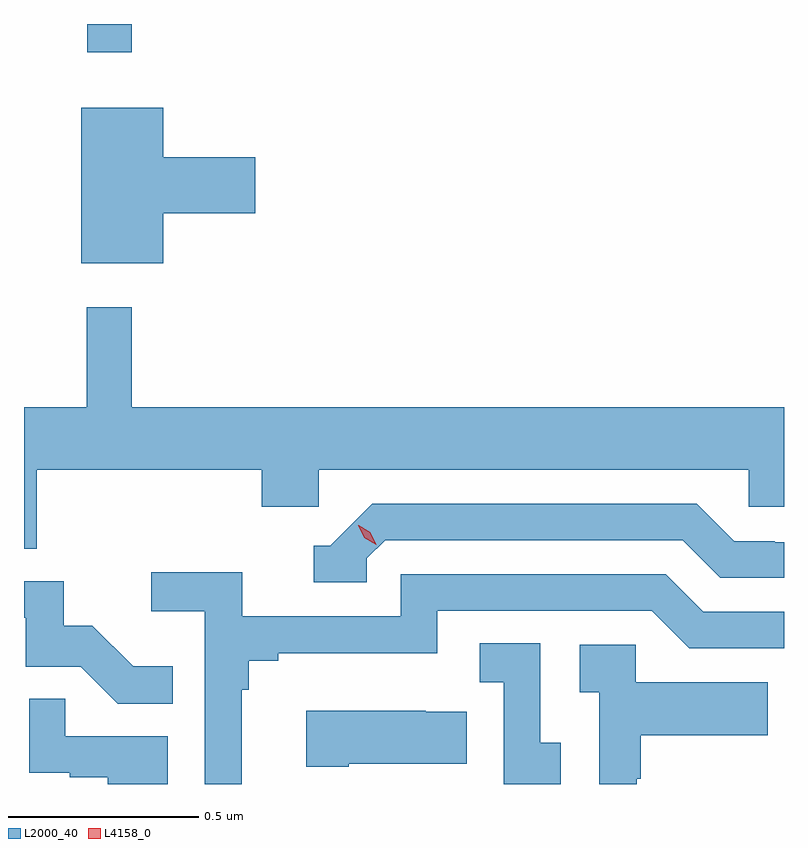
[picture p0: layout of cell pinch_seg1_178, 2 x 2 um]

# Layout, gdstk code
import gdstk
lib = gdstk.Library(unit=1e-6, precision=1e-09)
def R(c, l, rs):  # rectangles x0, y0, x1, y1
    for r in rs: c.add(gdstk.rectangle(r[:2], r[2:], *l))
def P(c, l, *ps):  # polygons
    for p in ps: c.add(gdstk.Polygon(p, *l))
L2000_40 = (2000, 40)
L4158_0 = (4158, 0)

pinch_seg1_178 = lib.new_cell('pinch_seg1_178')
R(pinch_seg1_178, L2000_40, [(1125.884,555.495,1126.001,555.569)])
P(pinch_seg1_178, L2000_40, [(1126.084,555.071),(1126.327,555.071),(1126.327,555.218),(1126.084,555.218),(1126.084,555.349),(1125.869,555.349),(1125.869,554.939),(1126.084,554.939)],
  [(1125.752,554.396),(1126.343,554.396),(1126.343,554.298),(1126.494,554.298),(1126.494,554.396),(1127.625,554.396),(1127.625,554.298),(1127.718,554.298),(1127.718,554.56),(1126.001,554.56),(1126.001,554.824),(1125.883,554.824),(1125.883,554.56),(1125.718,554.56),(1125.718,554.188),(1125.752,554.188)],
  [(1126.62,554.163),(1126.668,554.211),(1127.451,554.211),(1127.55,554.112),(1127.718,554.112),(1127.718,554.205),(1127.694,554.205),(1127.694,554.208),(1127.587,554.208),(1127.488,554.307),(1126.635,554.307),(1126.524,554.196),(1126.481,554.196),(1126.481,554.1),(1126.62,554.1)],
  [(1126.291,553.817),(1126.31,553.817),(1126.31,553.894),(1126.387,553.894),(1126.387,553.913),(1126.806,553.913),(1126.806,554.025),(1127.37,554.025),(1127.469,553.926),(1127.718,553.926),(1127.718,554.022),(1127.506,554.022),(1127.407,554.121),(1126.71,554.121),(1126.71,554.01),(1126.292,554.01),(1126.292,554.126),(1126.053,554.126),(1126.053,554.024),(1126.194,554.024),(1126.194,553.569),(1126.291,553.569)],
  [(1126.109,553.879),(1126.005,553.879),(1125.898,553.986),(1125.822,553.986),(1125.822,554.103),(1125.718,554.103),(1125.718,554.007),(1125.723,554.007),(1125.723,553.878),(1125.867,553.878),(1125.965,553.78),(1126.109,553.78)],
  [(1127.131,553.677),(1127.076,553.677),(1127.076,553.94),(1126.917,553.94),(1126.917,553.837),(1126.98,553.837),(1126.98,553.569),(1127.131,553.569)],
  [(1127.331,553.583),(1127.341,553.583),(1127.341,553.697),(1127.675,553.697),(1127.675,553.837),(1127.328,553.837),(1127.328,553.935),(1127.181,553.935),(1127.181,553.811),(1127.232,553.811),(1127.232,553.569),(1127.331,553.569)],
  [(1126.096,553.695),(1125.827,553.695),(1125.827,553.793),(1125.732,553.793),(1125.732,553.599),(1125.839,553.599),(1125.839,553.587),(1125.938,553.587),(1125.938,553.569),(1126.096,553.569)],
  [(1126.573,553.622),(1126.883,553.622),(1126.883,553.759),(1126.775,553.759),(1126.775,553.762),(1126.461,553.762),(1126.461,553.615),(1126.573,553.615)])
P(pinch_seg1_178, L4158_0, [(1126.645,554.198),(1126.614,554.217),(1126.598,554.25),(1126.598,554.25),(1126.599,554.25),(1126.629,554.231),(1126.645,554.198),(1126.645,554.198)])

lib.write_gds('pinch_seg1_178.gds')
